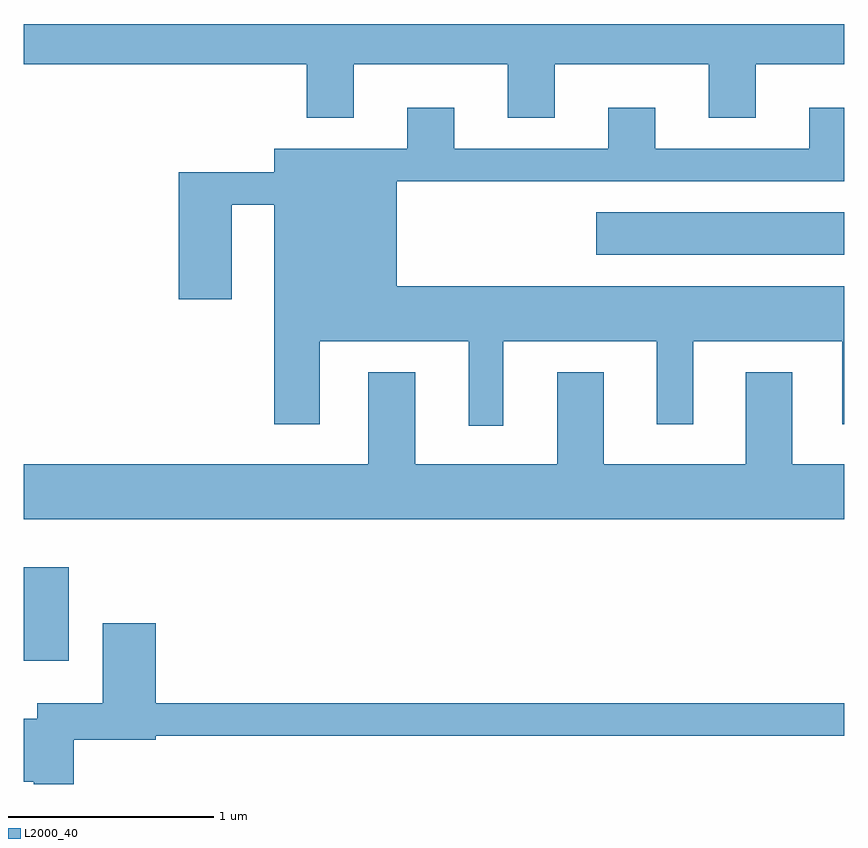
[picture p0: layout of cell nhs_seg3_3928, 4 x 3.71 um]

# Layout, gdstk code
import gdstk
lib = gdstk.Library(unit=1e-6, precision=1e-09)
def R(c, l, rs):  # rectangles x0, y0, x1, y1
    for r in rs: c.add(gdstk.rectangle(r[:2], r[2:], *l))
def P(c, l, *ps):  # polygons
    for p in ps: c.add(gdstk.Polygon(p, *l))
L2000_40 = (2000, 40)

nhs_seg3_3928 = lib.new_cell('nhs_seg3_3928')
R(nhs_seg3_3928, L2000_40, [(299.611,1220.786,299.829,1221.244), (302.401,1222.766,303.611,1222.974)])
P(nhs_seg3_3928, L2000_40, [(299.611,1223.696),(300.991,1223.696),(300.991,1223.436),(301.219,1223.436),(301.219,1223.696),(301.971,1223.696),(301.971,1223.436),(302.199,1223.436),(302.199,1223.696),(302.951,1223.696),(302.951,1223.436),(303.179,1223.436),(303.179,1223.696),(303.611,1223.696),(303.611,1223.892),(299.611,1223.892)],
  [(301.949,1222.346),(302.696,1222.346),(302.696,1221.941),(302.874,1221.941),(302.874,1222.346),(303.601,1222.346),(303.601,1221.941),(303.611,1221.941),(303.611,1222.614),(301.429,1222.614),(301.429,1223.126),(303.611,1223.126),(303.611,1223.484),(303.441,1223.484),(303.441,1223.284),(302.689,1223.284),(302.689,1223.484),(302.461,1223.484),(302.461,1223.284),(301.709,1223.284),(301.709,1223.484),(301.481,1223.484),(301.481,1223.284),(300.831,1223.284),(300.831,1223.169),(300.366,1223.169),(300.366,1222.551),(300.624,1222.551),(300.624,1223.011),(300.831,1223.011),(300.831,1221.941),(301.054,1221.941),(301.054,1222.346),(301.781,1222.346),(301.781,1221.933),(301.949,1221.933)],
  [(303.611,1221.744),(303.359,1221.744),(303.359,1222.194),(303.131,1222.194),(303.131,1221.744),(302.439,1221.744),(302.439,1222.194),(302.211,1222.194),(302.211,1221.744),(301.519,1221.744),(301.519,1222.194),(301.291,1222.194),(301.291,1221.744),(299.611,1221.744),(299.611,1221.476),(303.611,1221.476)],
  [(299.854,1220.401),(300.254,1220.401),(300.254,1220.421),(303.611,1220.421),(303.611,1220.579),(300.254,1220.579),(300.254,1220.969),(299.996,1220.969),(299.996,1220.579),(299.676,1220.579),(299.676,1220.504),(299.611,1220.504),(299.611,1220.196),(299.66,1220.196),(299.66,1220.186),(299.854,1220.186)])

lib.write_gds('nhs_seg3_3928.gds')
